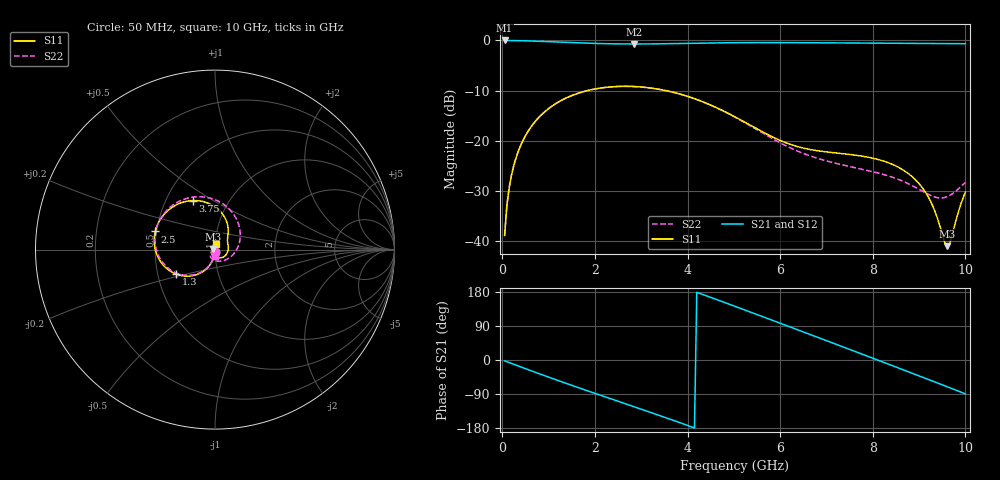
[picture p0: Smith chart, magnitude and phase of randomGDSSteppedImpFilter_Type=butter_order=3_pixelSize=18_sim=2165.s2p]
! freq	dB(S11)	phase(S11)	dB(S12)	phase(S12)
!  dB(S21)	phase(S21)	dB(S22)	phase(S22)
!S-par simulation data
#  GHz  S  DB  R 50
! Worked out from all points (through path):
!   200 points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, 50 MHz to 10 GHz, reference 50 ohm
!   highest |S21| = -0.01 dB at 50 MHz (marker M1); lowest = -0.7 dB at 2.85 GHz (marker M2)
!   group delay of S21, straight-line fit = 124 ps
!   lowest |S11| = -41.0 dB at 9.6 GHz (marker M3), VSWR 1.02, Z = 49.1 + j0.0808 ohm
!   |S11| at or under -10 dB: start of sweep to 1.839 GHz; 3.531 GHz to end of sweep
!   |S22| runs from -38.9 to -9.2 dB; largest |S21 - S12| = 0
!   S11 on the Smith chart (normalised r, x): 50 MHz: 1.00, -0.02; 1.3 GHz: 0.62, -0.18; 2.5 GHz: 0.49, +0.11; 3.75 GHz: 0.68, +0.41; 10 GHz: 1.01, +0.06
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0.05  -38.88 -92.6  -0.01 -2.3  -0.01 -2.3  -38.89 -92.9
0.1  -32.82 -95.0  -0.01 -4.6  -0.01 -4.6  -32.81 -95.2
0.15  -29.28 -97.2  -0.02 -6.9  -0.02 -6.9  -29.28 -97.5
0.4  -20.86 -108.4  -0.06 -18.3  -0.06 -18.3  -20.86 -109.0
0.75  -15.74 -124.1  -0.16 -34.1  -0.16 -34.1  -15.74 -125.2
1.3  -11.83 -147.9  -0.36 -58.3  -0.36 -58.3  -11.83 -150.1
1.75  -10.21 -166.6  -0.53 -77.5  -0.53 -77.5  -10.22 -169.8
2.5  -9.17 163.1  -0.69 -108.9  -0.69 -108.9  -9.18 157.7
2.85  -9.19 149.2  -0.71 -123.5  -0.71 -123.5  -9.20 142.5
3.4  -9.77 127.7  -0.68 -146.7  -0.68 -146.7  -9.77 117.8
3.75  -10.47 114.1  -0.63 -161.7  -0.63 -161.7  -10.48 101.5
4.4  -12.49 89.7  -0.52 169.7  -0.52 169.7  -12.51 69.4
5.05  -15.36 68.0  -0.45 140.5  -0.45 140.5  -15.43 33.9
5.9  -19.52 47.3  -0.43 101.7  -0.43 101.7  -19.92 -19.2
6.7  -21.83 29.5  -0.47 64.9  -0.47 64.9  -23.19 -69.8
7.55  -22.78 -4.1  -0.51 25.7  -0.51 25.7  -25.23 -107.0
8.35  -24.43 -46.6  -0.56 -11.5  -0.56 -11.5  -27.05 -125.9
9.1  -29.75 -92.7  -0.60 -46.6  -0.60 -46.6  -30.19 -127.6
9.3  -33.11 -110.3  -0.61 -56.0  -0.61 -56.0  -31.09 -121.0
9.6  -41.01 174.7  -0.63 -70.2  -0.63 -70.2  -31.16 -104.6
9.65  -40.74 150.0  -0.63 -72.6  -0.63 -72.6  -30.95 -101.9
10  -30.23 77.2  -0.66 -89.3  -0.66 -89.3  -28.31 -90.3
